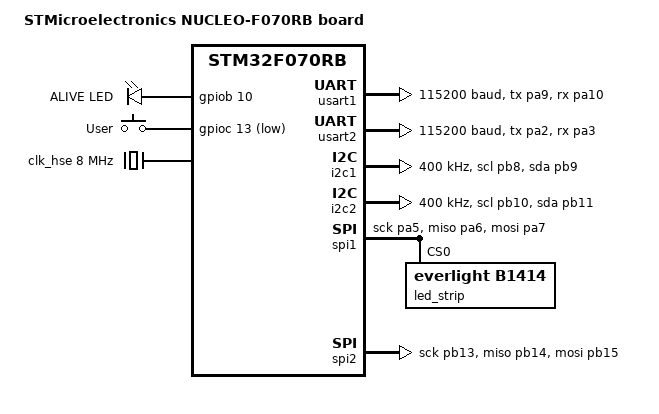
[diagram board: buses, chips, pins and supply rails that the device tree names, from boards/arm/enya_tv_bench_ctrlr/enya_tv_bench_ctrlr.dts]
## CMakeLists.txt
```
# Find Zephyr. This also loads Zephyr's build system.
cmake_minimum_required(VERSION 3.20.0)

# If no build environment is define, use the prod one
if(NOT DEFINED BUILD_ENV)
  set(BUILD_ENV "prod")
endif()

# Setting target board
if((BUILD_ENV STREQUAL "prod") OR (BUILD_ENV STREQUAL "dev"))
  set(BOARD_ROOT ${CMAKE_CURRENT_SOURCE_DIR})
  set(BOARD "enya_tv_bench_ctrlr")
elseif(BUILD_ENV STREQUAL "qemu")
  set(BOARD "qemu_cortex_m0")
else()
  message(FATAL_ERROR "Unsupported build environment!!!")
endif()

# Load the application config for development
if((BUILD_ENV STREQUAL "dev") OR (BUILD_ENV STREQUAL "qemu"))
  set(CONF_FILE "prj_dev.conf")
endif()

# Set Zephyr environment
find_package(Zephyr REQUIRED HINTS $ENV{ZEPHYR_BASE})
project(app)

# Add your source file to the "app" target. This must come after
# find_package(Zephyr) which defines the target.
include(${CMAKE_CURRENT_SOURCE_DIR}/cmake/listSourcesAndIncludes.cmake)

set(SRC "")
set(INC "")

listSources(${CMAKE_CURRENT_SOURCE_DIR}/src SRC)
listIncludesDir(${CMAKE_CURRENT_SOURCE_DIR}/src INC)

# message("SRC: ${SRC}")
# message("INC: ${INC}")

target_sources(app PRIVATE ${SRC})
target_include_directories(app PRIVATE ${INC})
```

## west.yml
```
# TV Bench Controller Firmware Manifest
manifest:
  remotes:
    - name: electronya
      url-base: https://github.com/Electronya
    - name: zephyr
      url-base: https://github.com/zephyrproject-rtos

  self:
    path: app

  projects:
    - name: zephyr
      remote: zephyr
      repo-path: zephyr.git
      path: zephyr
      revision: zephyr-v3.4.0
      import: true
    - name: zephyr-wrapper
      remote: electronya
      repo-path: zephyr-wrapper.git
      path: modules/lib/electronya/zephyr-wrapper
      revision: adding-message-queues
```

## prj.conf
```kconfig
# Shell configuration
CONFIG_SHELL=y
CONFIG_SHELL_STACK_SIZE=1024

# Logging configuration
CONFIG_LOG=y
CONFIG_LOG_RUNTIME_FILTERING=y
CONFIG_LOG_BUFFER_SIZE=512
CONFIG_LOG_PRINTK=n
CONFIG_LOG_PROCESS_TRIGGER_THRESHOLD=0
CONFIG_LOG_DEFAULT_LEVEL=3
```

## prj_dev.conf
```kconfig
# Shell configuration
CONFIG_SHELL=y
CONFIG_SHELL_STACK_SIZE=1024

# Logging configuration
CONFIG_LOG=y
CONFIG_LOG_RUNTIME_FILTERING=y
CONFIG_LOG_BUFFER_SIZE=1024
CONFIG_LOG_PRINTK=n
CONFIG_LOG_PROCESS_TRIGGER_THRESHOLD=0
CONFIG_LOG_DEFAULT_LEVEL=4

# Kernel debug
CONFIG_KERNEL_LOG_LEVEL_INF=y
# CONFIG_KERNEL_LOG_LEVEL_DBG=y
CONFIG_SPI_LOG_LEVEL_OFF=y
CONFIG_DMA_LOG_LEVEL_OFF=y
# CONFIG_LED_STRIP_LOG_LEVEL_DBG=y

# Thread Analyzer
# CONFIG_THREAD_ANALYZER=y
# CONFIG_THREAD_ANALYZER_USE_PRINTK=y
# CONFIG_THREAD_ANALYZER_AUTO=y
# CONFIG_THREAD_ANALYZER_AUTO_INTERVAL=10

# Core Dump
# CONFIG_DEBUG_COREDUMP=y
# CONFIG_DEBUG_COREDUMP_BACKEND_LOGGING=y
```

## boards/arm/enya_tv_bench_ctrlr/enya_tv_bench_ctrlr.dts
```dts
/*
 * Copyright (c) 2023 Electronya
 *
 */

/dts-v1/;
#include <st/f0/stm32f070Xb.dtsi>
#include <st/f0/stm32f070rbtx-pinctrl.dtsi>
#include <zephyr/dt-bindings/led/led.h>
#include "./ws2812b-bindings.h"

/ {
	model = "STMicroelectronics NUCLEO-F070RB board";
	compatible = "st,stm32f070rb-nucleo";

	chosen {
		zephyr,console = &usart1;
		zephyr,shell-uart = &usart1;
		zephyr,sram = &sram0;
		zephyr,flash = &flash0;
	};

	leds {
		compatible = "gpio-leds";
		ledalive: aliveled {
			gpios = <&gpiob 10 GPIO_ACTIVE_HIGH>;
			label = "ALIVE LED";
		};
	};

	gpio_keys {
		compatible = "gpio-keys";
		user_button: button {
			label = "User";
			gpios = <&gpioc 13 GPIO_ACTIVE_LOW>;
		};
	};

	aliases {
    /* watchdog */
		watchdog0 = &iwdg;
    /* alive LED */
    alive = &ledalive;
    /* LED strip devices */
    led-strip = &led_strip;
	};
};

&clk_hse {
	hse-bypass;
	clock-frequency = <DT_FREQ_M(8)>; /* STLink 8MHz clock */
	status = "okay";
};

&pll {
	clocks = <&clk_hse>;
	prediv = <1>;
	mul = <6>;
	status = "okay";
};

&rcc {
	clocks = <&pll>;
	clock-frequency = <DT_FREQ_M(48)>;
	ahb-prescaler = <1>;
	apb1-prescaler = <2>;
};

&usart1 {
	pinctrl-0 = <&usart1_tx_pa9 &usart1_rx_pa10>;
	pinctrl-names = "default";
	current-speed = <115200>;
	status = "okay";
};

&usart2 {
	pinctrl-0 = <&usart2_tx_pa2 &usart2_rx_pa3>;
	pinctrl-names = "default";
	current-speed = <115200>;
	status = "okay";
};

&i2c1 {
	pinctrl-0 = <&i2c1_scl_pb8 &i2c1_sda_pb9>;
	pinctrl-names = "default";
	// status = "okay";
	clock-frequency = <I2C_BITRATE_FAST>;
};

&i2c2 {
	pinctrl-0 = <&i2c2_scl_pb10 &i2c2_sda_pb11>;
	pinctrl-names = "default";
	// status = "okay";
	clock-frequency = <I2C_BITRATE_FAST>;
};

&spi1 {
	pinctrl-0 = <&spi1_sck_pa5 &spi1_miso_pa6 &spi1_mosi_pa7>;
	pinctrl-names = "default";
  status = "okay";

  dmas = <&dma1 3 (STM32_DMA_PERIPH_TX | STM32_DMA_PRIORITY_HIGH)>,
		     <&dma1 2 (STM32_DMA_PERIPH_RX | STM32_DMA_PRIORITY_HIGH)>;
	dma-names = "tx", "rx";

  led_strip: led_strip@0 {
    compatible = "everlight,b1414", "worldsemi,ws2812-spi";

		/* SPI */
		reg = <0>; /* ignored, but necessary for SPI bindings */
		spi-max-frequency = <SPI_FREQ>;
		frame-format = <32768>; /* SPI_FRAME_FORMAT_TI */

		/* LED strip */
		chain-length = <8>; /* arbitrary; change at will */
		spi-one-frame = <ONE_FRAME>;
		spi-zero-frame = <ZERO_FRAME>;
		color-mapping = <LED_COLOR_ID_GREEN
				             LED_COLOR_ID_RED
                     LED_COLOR_ID_BLUE>;

		reset-delay = <250>;
		status = "okay";
	};
};

&spi2 {
	pinctrl-0 = <&spi2_sck_pb13 &spi2_miso_pb14 &spi2_mosi_pb15>;
	pinctrl-names = "default";
	// status = "okay";
};

&iwdg {
	// status = "okay";
};

&dma1 {
	status = "okay";
};
```

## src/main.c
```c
/**
 * Copyright (C) 2020 by Electronya
 *
 * @file      main.c
 * @author    jbacon
 * @date      2020-10-07
 * @brief     TV Bench Controller LED Coprocessor Firmware
 *
 * This file is the entry point for the Electronya TV Bench Controller LED driving coprocessor.
 */

#include <zephyr/kernel.h>
#include <zephyr/logging/log.h>
#include <zephyr/sys/printk.h>

#include "appMsg.h"
#include "ledManager.h"
#include "zephyrLedStrip.h"

#define MAIN_MODULE_NAME main_module

/* Setting module logging */
LOG_MODULE_REGISTER(MAIN_MODULE_NAME);

int main(void)
{
  int rc;
  LedSequence_t seq = {
    .startColor.hexColor = 0xff0000,
    .seqType = SEQ_SOLID,
    .timeBase = ZEPHYR_TIME_FOREVER,
    .timeUnit = MILLI_SEC,
  };

  LOG_INF("booting tv bench controller");

  rc = appMsgInit();
  if(rc < 0)
  {
    LOG_ERR("unable to initialize the application messages.");
    return rc;
  }

  rc = ledMngrInit();
  if(rc < 0)
  {
    LOG_ERR("unable to initialize the LED manager.");
    return rc;
  }

  appMsgPushLedSequence( &seq );

  return 0;
}
```

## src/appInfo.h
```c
/**
 * Copyright (C) 2020 by Electronya
 *
 * @file      appInfo.h
 * @author    jbacon
 * @date      2020-10-24
 * @brief     Application information strings
 */

#ifndef APP_INFO_H
#define APP_INFO_H

/** Application info title */
#define APP_INFO_TITLE    "Application Information"

/** Application name */
#define APP_NAME          "Name: TV Bench Controller LED Coprocessor"

/** Application version */
#define APP_VERSION       "Version: 1.0.0"

/** app command usage */
#define APP_CMD_USAGE     "Application related commands."

/** app info command usage */
#define APP_INFO_USAGE    "Display application information.\nUsage: app info"

/** app name command usage */
#define APP_NAME_USAGE    "Display application name.\nUsage: app name"

/** app version command usage */
#define APP_VER_UAGE      "Display application version.\nUsage: app version"

#endif    /* APP_INFO_H */
```
